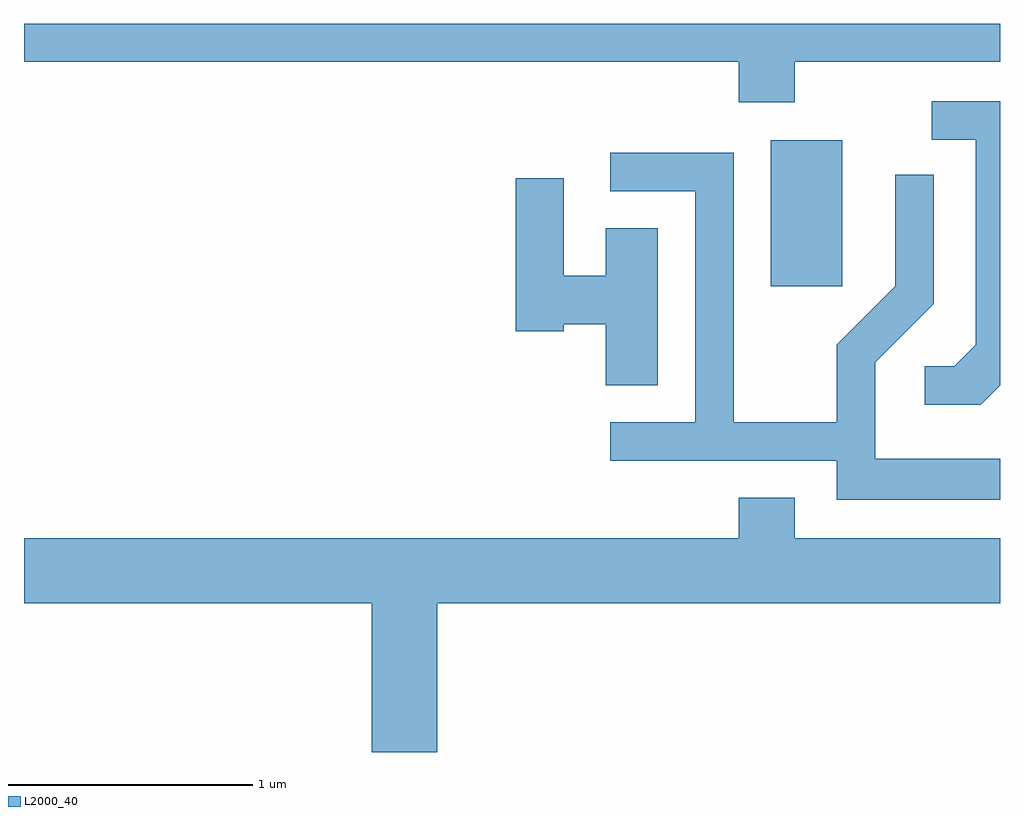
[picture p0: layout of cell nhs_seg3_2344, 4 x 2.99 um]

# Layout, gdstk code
import gdstk
lib = gdstk.Library(unit=1e-6, precision=1e-09)
def R(c, l, rs):  # rectangles x0, y0, x1, y1
    for r in rs: c.add(gdstk.rectangle(r[:2], r[2:], *l))
def P(c, l, *ps):  # polygons
    for p in ps: c.add(gdstk.Polygon(p, *l))
L2000_40 = (2000, 40)

nhs_seg3_2344 = lib.new_cell('nhs_seg3_2344')
R(nhs_seg3_2344, L2000_40, [(256.671,1182.816,256.964,1183.414)])
P(nhs_seg3_2344, L2000_40, [(256.769,1183.736),(257.611,1183.736),(257.611,1183.892),(253.611,1183.892),(253.611,1183.736),(256.541,1183.736),(256.541,1183.571),(256.769,1183.571)],
  [(257.611,1182.411),(257.611,1183.574),(257.332,1183.574),(257.332,1183.416),(257.511,1183.416),(257.511,1182.577),(257.424,1182.489),(257.303,1182.489),(257.303,1182.331),(257.532,1182.331)],
  [(257.611,1182.109),(257.099,1182.109),(257.099,1182.504),(257.339,1182.744),(257.339,1183.273),(257.181,1183.273),(257.181,1182.817),(256.941,1182.577),(256.941,1182.259),(256.519,1182.259),(256.519,1183.364),(256.013,1183.364),(256.013,1183.206),(256.361,1183.206),(256.361,1182.259),(256.013,1182.259),(256.013,1182.101),(256.941,1182.101),(256.941,1181.941),(257.611,1181.941)],
  [(256.209,1183.054),(255.996,1183.054),(255.996,1182.859),(255.824,1182.859),(255.824,1183.259),(255.626,1183.259),(255.626,1182.631),(255.824,1182.631),(255.824,1182.661),(255.996,1182.661),(255.996,1182.411),(256.209,1182.411)],
  [(255.304,1181.516),(257.611,1181.516),(257.611,1181.784),(256.769,1181.784),(256.769,1181.949),(256.541,1181.949),(256.541,1181.784),(253.611,1181.784),(253.611,1181.516),(255.036,1181.516),(255.036,1180.906),(255.304,1180.906)])

lib.write_gds('nhs_seg3_2344.gds')
